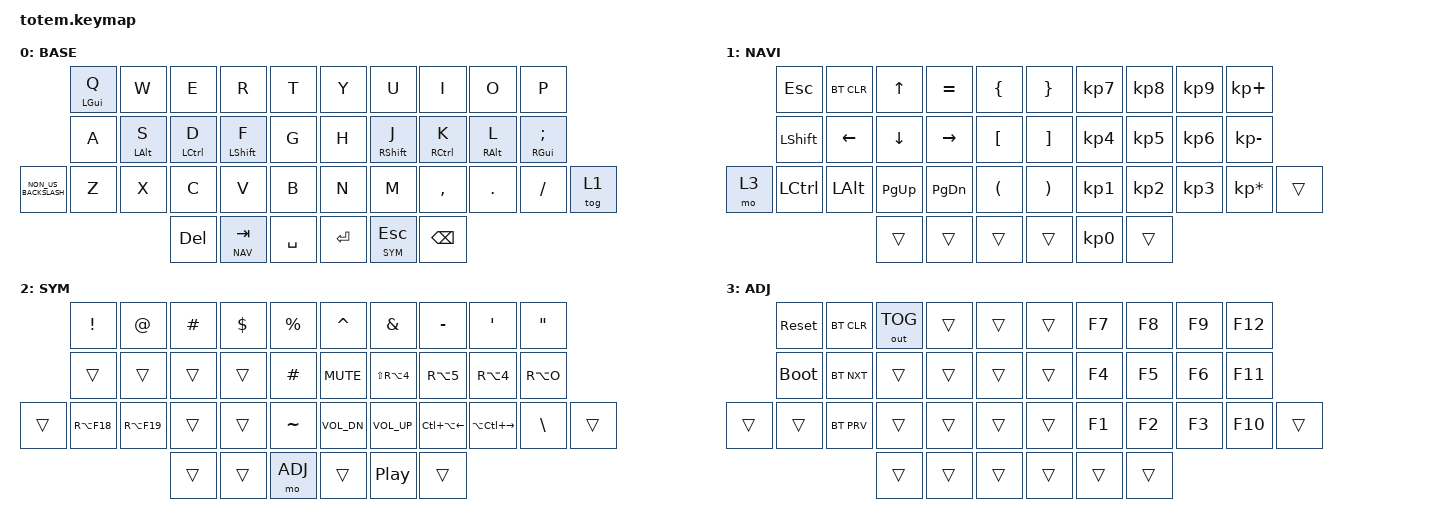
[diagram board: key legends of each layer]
//
//                                                        ▀▀▀▀▀     ▀▀▀▀▀          ▀▀█▀▀
//                                                        ▄▀▀▀▄  ▄  ▄▀▀▀▄  ▄  ▄▀▀▀▄  █  ▄▀▀▀▄
//                                                        █   █  █  █   █  █  █   █  █  █   █
//                                                         ▀▀▀   █   ▀▀▀   █   ▀▀▀   ▀   ▀▀▀
//                                                               █      ▄▄▄█▄▄▄    █   █  
//                                                               ▀      █  █  █     █▄█
//                                                             ▀▀▀▀▀    █  █  █      ▀
//                                                                      ▀  ▀  ▀
//
// ▄▄▄▄▄▄▄▄▄▄▄▄▄▄▄▄▄▄▄▄▄▄▄▄▄▄▄▄▄▄▄▄▄▄▄▄▄▄▄▄▄▄▄▄▄▄▄▄▄▄▄▄▄▄▄▄▄▄▄▄▄▄▄▄▄▄▄▄▄▄▄▄▄▄▄▄▄▄▄▄▄▄▄▄▄▄▄▄▄▄▄▄▄▄▄▄▄▄▄▄▄▄▄▄▄▄▄▄▄▄▄▄▄▄▄▄▄▄▄▄▄▄▄▄▄▄▄▄▄▄▄▄▄▄▄▄▄▄▄▄▄▄▄▄▄▄▄▄▄

#include <behaviors.dtsi>
#include <dt-bindings/zmk/bt.h>
#include <dt-bindings/zmk/keys.h>
#include <dt-bindings/zmk/outputs.h>

#define BASE 0
#define NAV  1
#define SYM  2
#define ADJ  3

&mt {
    quick-tap-ms = <100>;
    global-quick-tap;
    flavor = "tap-preferred";
    tapping-term-ms = <170>;
};

/ {
    combos {
        compatible = "zmk,combos";

        combo_esc {
            timeout-ms = <50>;
            key-positions = <0 1>;
            bindings = <&kp ESC>;
        };

        NumLock {
            bindings = <&kp KP_NUMLOCK>;
            key-positions = <6 7 8>;
        };

        Copy {
            bindings = <&kp LC(C)>;
            key-positions = <23 22 21>;
        };

        Paste {
            bindings = <&kp LC(V)>;
            key-positions = <23 24 25>;
        };

        Undo {
            bindings = <&kp LC(Z)>;
            key-positions = <23 22 24>;
        };

        reUndo {
            bindings = <&kp LS(LC(Z))>;
            key-positions = <21 22 23 24>;
        };
    };

    keymap {
        compatible = "zmk,keymap";

        // ▄▄▄▄▄▄▄▄▄▄▄▄▄▄▄▄▄▄▄▄▄▄▄▄▄▄▄▄▄▄▄▄▄▄▄▄▄▄▄▄▄▄▄▄▄▄▄▄▄▄▄▄▄▄▄▄▄▄▄▄▄▄▄▄▄▄▄▄▄▄▄▄▄▄▄▄▄▄▄▄▄▄▄▄▄▄▄▄▄▄▄▄▄▄▄▄▄▄▄▄▄▄▄▄▄▄▄▄▄▄▄▄▄▄▄▄▄▄▄▄▄▄▄▄▄▄▄▄▄▄▄▄▄▄▄▄▄▄▄▄▄▄▄▄▄▄▄▄▄

        base_layer {
            // ┏━━━━━━━━━━━━━━━━━━━━━━━━━━━━━━━━━━━━━━━┓

            label = "BASE";

            // ┗━━━━━━━━━━━━━━━━━━━━━━━━━━━━━━━━━━━━━━━┛
            //             ┏━━━━━━━━━━━┳━━━━━━━━━━━┳━━━━━━━━━━━┳━━━━━━━━━━━┳━━━━━━━━━━━┓   ┏━━━━━━━━━━━┳━━━━━━━━━━━┳━━━━━━━━━━━┳━━━━━━━━━━━┳━━━━━━━━━━━┓
            //             ┃     Q     ┃     W     ┃     E     ┃     R     ┃     T     ┃   ┃     Y     ┃     U     ┃     I     ┃     O     ┃     P     ┃
            //             ┣━━━━━━━━━━━╋━━━━━━━━━━━╋━━━━━━━━━━━╋━━━━━━━━━━━╋━━━━━━━━━━━┫   ┣━━━━━━━━━━━╋━━━━━━━━━━━╋━━━━━━━━━━━╋━━━━━━━━━━━╋━━━━━━━━━━━┫
            //             ┃     A     ┃     S     ┃     D     ┃     F     ┃     G     ┃   ┃     H     ┃     J     ┃     K     ┃     L     ┃     ;     ┃
            // ┏━━━━━━━━━━━╋━━━━━━━━━━━╋━━━━━━━━━━━╋━━━━━━━━━━━╋━━━━━━━━━━━╋━━━━━━━━━━━┫   ┣━━━━━━━━━━━╋━━━━━━━━━━━╋━━━━━━━━━━━╋━━━━━━━━━━━╋━━━━━━━━━━━╋━━━━━━━━━━━┓
            // ┃     Q     ┃     Z     ┃     X     ┃     C     ┃     V     ┃     B     ┃   ┃     N     ┃     M     ┃     ,     ┃     .     ┃     /     ┃     \     ┃
            // ┗━━━━━━━━━━━┻━━━━━━━━━━━┻━━━━━━━━━━━╋━━━━━━━━━━━╋━━━━━━━━━━━╋━━━━━━━━━━━┫   ┣━━━━━━━━━━━╋━━━━━━━━━━━╋━━━━━━━━━━━╋━━━━━━━━━━━┻━━━━━━━━━━━┻━━━━━━━━━━━┛
            //                                     ┃    DEL    ┃    TAB    ┃    SPC    ┃   ┃   ENTER   ┃           ┃   BSPC    ┃
            //                                     ┗━━━━━━━━━━━┻━━━━━━━━━━━┻━━━━━━━━━━━┛   ┗━━━━━━━━━━━┻━━━━━━━━━━━┻━━━━━━━━━━━┛

            bindings = <
                      &mt LEFT_GUI Q  &kp W       &kp E        &kp R        &kp T        &kp Y    &kp U        &kp I        &kp O       &kp P
                      &kp A           &mt LALT S  &mt LCTRL D  &mt LSHFT F  &kp G        &kp H    &mt RSHFT J  &mt RCTRL K  &mt RALT L  &mt RGUI SEMI
&kp NON_US_BACKSLASH  &kp Z           &kp X       &kp C        &kp V        &kp B        &kp N    &kp M        &kp COMMA    &kp DOT     &kp FSLH       &tog 1
                                                  &kp DEL      &lt NAV TAB  &kp SPACE    &kp RET  &lt SYM ESC  &kp BSPC
            >;
        };

        // ▄▄▄▄▄▄▄▄▄▄▄▄▄▄▄▄▄▄▄▄▄▄▄▄▄▄▄▄▄▄▄▄▄▄▄▄▄▄▄▄▄▄▄▄▄▄▄▄▄▄▄▄▄▄▄▄▄▄▄▄▄▄▄▄▄▄▄▄▄▄▄▄▄▄▄▄▄▄▄▄▄▄▄▄▄▄▄▄▄▄▄▄▄▄▄▄▄▄▄▄▄▄▄▄▄▄▄▄▄▄▄▄▄▄▄▄▄▄▄▄▄▄▄▄▄▄▄▄▄▄▄▄▄▄▄▄▄▄▄▄▄▄▄▄▄▄▄▄▄

        nav_layer {
            // ┏━━━━━━━━━━━━━━━━━━━━━━━━━━━━━━━━━━━━━━━┓

            label = "NAVI";

            // ┗━━━━━━━━━━━━━━━━━━━━━━━━━━━━━━━━━━━━━━━┛
            //             ┏━━━━━━━━━━━┳━━━━━━━━━━━┳━━━━━━━━━━━┳━━━━━━━━━━━┳━━━━━━━━━━━┓   ┏━━━━━━━━━━━┳━━━━━━━━━━━┳━━━━━━━━━━━┳━━━━━━━━━━━┳━━━━━━━━━━━┓
            //             ┃           ┃           ┃     UP    ┃           ┃     {     ┃   ┃     }     ┃     7     ┃     8     ┃     9     ┃     +     ┃
            //             ┣━━━━━━━━━━━╋━━━━━━━━━━━╋━━━━━━━━━━━╋━━━━━━━━━━━╋━━━━━━━━━━━┫   ┣━━━━━━━━━━━╋━━━━━━━━━━━╋━━━━━━━━━━━╋━━━━━━━━━━━╋━━━━━━━━━━━┫
            //             ┃   SHIFT   ┃   LEFT    ┃    DOWN   ┃   RIGHT   ┃     [     ┃   ┃     ]     ┃     4     ┃     5     ┃     6     ┃     -     ┃
            // ┏━━━━━━━━━━━╋━━━━━━━━━━━╋━━━━━━━━━━━╋━━━━━━━━━━━╋━━━━━━━━━━━╋━━━━━━━━━━━┫   ┣━━━━━━━━━━━╋━━━━━━━━━━━╋━━━━━━━━━━━╋━━━━━━━━━━━╋━━━━━━━━━━━╋━━━━━━━━━━━┓
            // ┃           ┃           ┃   P UP    ┃  C LOCK   ┃  P DOWN   ┃     (     ┃   ┃     )     ┃     1     ┃     2     ┃     3     ┃     *     ┃           ┃
            // ┗━━━━━━━━━━━┻━━━━━━━━━━━┻━━━━━━━━━━━╋━━━━━━━━━━━╋━━━━━━━━━━━╋━━━━━━━━━━━┫   ┣━━━━━━━━━━━╋━━━━━━━━━━━╋━━━━━━━━━━━╋━━━━━━━━━━━┻━━━━━━━━━━━┻━━━━━━━━━━━┛
            //                                     ┃           ┃    TAB    ┃    SPC    ┃   ┃    DEL    ┃     0     ┃           ┃
            //                                     ┗━━━━━━━━━━━┻━━━━━━━━━━━┻━━━━━━━━━━━┛   ┗━━━━━━━━━━━┻━━━━━━━━━━━┻━━━━━━━━━━━┛

            bindings = <
       &kp ESC    &bt BT_CLR    &kp UP       &kp EQUAL      &kp LBRC    &kp RBRC  &kp KP_N7  &kp KP_N8  &kp KP_N9  &kp KP_PLUS
       &kp LSHFT  &kp LEFT      &kp DOWN     &kp RIGHT      &kp LBKT    &kp RBKT  &kp KP_N4  &kp KP_N5  &kp KP_N6  &kp KP_MINUS
&mo 3  &kp LCTRL  &kp LEFT_ALT  &kp PAGE_UP  &kp PAGE_DOWN  &kp LPAR    &kp RPAR  &kp KP_N1  &kp KP_N2  &kp KP_N3  &kp KP_MULTIPLY  &trans
                                &trans       &trans         &trans      &trans    &kp KP_N0  &trans
            >;
        };

        // ▄▄▄▄▄▄▄▄▄▄▄▄▄▄▄▄▄▄▄▄▄▄▄▄▄▄▄▄▄▄▄▄▄▄▄▄▄▄▄▄▄▄▄▄▄▄▄▄▄▄▄▄▄▄▄▄▄▄▄▄▄▄▄▄▄▄▄▄▄▄▄▄▄▄▄▄▄▄▄▄▄▄▄▄▄▄▄▄▄▄▄▄▄▄▄▄▄▄▄▄▄▄▄▄▄▄▄▄▄▄▄▄▄▄▄▄▄▄▄▄▄▄▄▄▄▄▄▄▄▄▄▄▄▄▄▄▄▄▄▄▄▄▄▄▄▄▄▄▄

        sim_layer {
            // ┏━━━━━━━━━━━━━━━━━━━━━━━━━━━━━━━━━━━━━━━┓

            label = "SYM";

            // ┗━━━━━━━━━━━━━━━━━━━━━━━━━━━━━━━━━━━━━━━┛
            //             ┏━━━━━━━━━━━┳━━━━━━━━━━━┳━━━━━━━━━━━┳━━━━━━━━━━━┳━━━━━━━━━━━┓   ┏━━━━━━━━━━━┳━━━━━━━━━━━┳━━━━━━━━━━━┳━━━━━━━━━━━┳━━━━━━━━━━━┓
            //             ┃     !     ┃     @     ┃     #     ┃     $     ┃     %     ┃   ┃     ˆ     ┃     &     ┃     Ü     ┃     '     ┃     "     ┃
            //             ┣━━━━━━━━━━━╋━━━━━━━━━━━╋━━━━━━━━━━━╋━━━━━━━━━━━╋━━━━━━━━━━━┫   ┣━━━━━━━━━━━╋━━━━━━━━━━━╋━━━━━━━━━━━╋━━━━━━━━━━━╋━━━━━━━━━━━┫
            //             ┃     Ä     ┃           ┃    SZ     ┃           ┃           ┃   ┃   MUTE    ┃   YEN     ┃   EURO    ┃  POUND    ┃     Ö     ┃
            // ┏━━━━━━━━━━━╋━━━━━━━━━━━╋━━━━━━━━━━━╋━━━━━━━━━━━╋━━━━━━━━━━━╋━━━━━━━━━━━┫   ┣━━━━━━━━━━━╋━━━━━━━━━━━╋━━━━━━━━━━━╋━━━━━━━━━━━╋━━━━━━━━━━━╋━━━━━━━━━━━┓
            // ┃           ┃  EMAIL1   ┃  EMAIL2   ┃           ┃           ┃           ┃   ┃   VOL-    ┃   VOL+    ┃   LAST    ┃   NEXT    ┃     \     ┃           ┃
            // ┗━━━━━━━━━━━┻━━━━━━━━━━━┻━━━━━━━━━━━╋━━━━━━━━━━━╋━━━━━━━━━━━╋━━━━━━━━━━━┫   ┣━━━━━━━━━━━╋━━━━━━━━━━━╋━━━━━━━━━━━╋━━━━━━━━━━━┻━━━━━━━━━━━┻━━━━━━━━━━━┛
            //                                     ┃           ┃    GIF    ┃    ADJ    ┃   ┃           ┃           ┃           ┃
            //                                     ┗━━━━━━━━━━━┻━━━━━━━━━━━┻━━━━━━━━━━━┛   ┗━━━━━━━━━━━┻━━━━━━━━━━━┻━━━━━━━━━━━┛

            bindings = <
        &kp EXCL     &kp AT       &kp HASH  &kp DLLR  &kp PRCNT    &kp CARET     &kp AMPS        &kp MINUS         &kp SQT            &kp DQT
        &trans       &trans       &trans    &trans    &kp HASH     &kp C_MUTE    &kp LS(RA(N4))  &kp RA(N5)        &kp RA(N4)         &kp RA(O)
&trans  &kp RA(F18)  &kp RA(F19)  &trans    &trans    &kp TILDE    &kp C_VOL_DN  &kp C_VOL_UP    &kp LC(LA(LEFT))  &kp LA(LC(RIGHT))  &kp BSLH   &trans
                                  &trans    &trans    &mo ADJ      &trans        &kp C_PP        &trans
            >;
        };

        // ▄▄▄▄▄▄▄▄▄▄▄▄▄▄▄▄▄▄▄▄▄▄▄▄▄▄▄▄▄▄▄▄▄▄▄▄▄▄▄▄▄▄▄▄▄▄▄▄▄▄▄▄▄▄▄▄▄▄▄▄▄▄▄▄▄▄▄▄▄▄▄▄▄▄▄▄▄▄▄▄▄▄▄▄▄▄▄▄▄▄▄▄▄▄▄▄▄▄▄▄▄▄▄▄▄▄▄▄▄▄▄▄▄▄▄▄▄▄▄▄▄▄▄▄▄▄▄▄▄▄▄▄▄▄▄▄▄▄▄▄▄▄▄▄▄▄▄▄▄

        adjust_layer {
            // ┏━━━━━━━━━━━━━━━━━━━━━━━━━━━━━━━━━━━━━━━┓

            label = "ADJ";

            // ┗━━━━━━━━━━━━━━━━━━━━━━━━━━━━━━━━━━━━━━━┛
            //             ┏━━━━━━━━━━━┳━━━━━━━━━━━┳━━━━━━━━━━━┳━━━━━━━━━━━┳━━━━━━━━━━━┓   ┏━━━━━━━━━━━┳━━━━━━━━━━━┳━━━━━━━━━━━┳━━━━━━━━━━━┳━━━━━━━━━━━┓
            //             ┃   RESET   ┃ BT CLEAR  ┃  OUT TOG  ┃           ┃           ┃   ┃           ┃    F7     ┃    F8     ┃    F9     ┃    F12    ┃
            //             ┣━━━━━━━━━━━╋━━━━━━━━━━━╋━━━━━━━━━━━╋━━━━━━━━━━━╋━━━━━━━━━━━┫   ┣━━━━━━━━━━━╋━━━━━━━━━━━╋━━━━━━━━━━━╋━━━━━━━━━━━╋━━━━━━━━━━━┫
            //             ┃ BOOTLOAD  ┃ BT NEXT   ┃           ┃           ┃           ┃   ┃           ┃    F4     ┃    F5     ┃    F6     ┃    F11    ┃
            // ┏━━━━━━━━━━━╋━━━━━━━━━━━╋━━━━━━━━━━━╋━━━━━━━━━━━╋━━━━━━━━━━━╋━━━━━━━━━━━┫   ┣━━━━━━━━━━━╋━━━━━━━━━━━╋━━━━━━━━━━━╋━━━━━━━━━━━╋━━━━━━━━━━━╋━━━━━━━━━━━┓
            // ┃           ┃           ┃ BT PREV   ┃           ┃           ┃           ┃   ┃           ┃    F1     ┃    F2     ┃    F3     ┃    F10    ┃           ┃
            // ┗━━━━━━━━━━━┻━━━━━━━━━━━┻━━━━━━━━━━━╋━━━━━━━━━━━╋━━━━━━━━━━━╋━━━━━━━━━━━┫   ┣━━━━━━━━━━━╋━━━━━━━━━━━╋━━━━━━━━━━━╋━━━━━━━━━━━┻━━━━━━━━━━━┻━━━━━━━━━━━┛
            //                                     ┃           ┃           ┃           ┃   ┃           ┃           ┃           ┃
            //                                     ┗━━━━━━━━━━━┻━━━━━━━━━━━┻━━━━━━━━━━━┛   ┗━━━━━━━━━━━┻━━━━━━━━━━━┻━━━━━━━━━━━┛

            bindings = <
        &sys_reset   &bt BT_CLR  &out OUT_TOG  &trans  &trans    &trans  &kp F7  &kp F8  &kp F9  &kp F12
        &bootloader  &bt BT_NXT  &trans        &trans  &trans    &trans  &kp F4  &kp F5  &kp F6  &kp F11
&trans  &trans       &bt BT_PRV  &trans        &trans  &trans    &trans  &kp F1  &kp F2  &kp F3  &kp F10  &trans
                                 &trans        &trans  &trans    &trans  &trans  &trans
            >;
        };
    };
};
